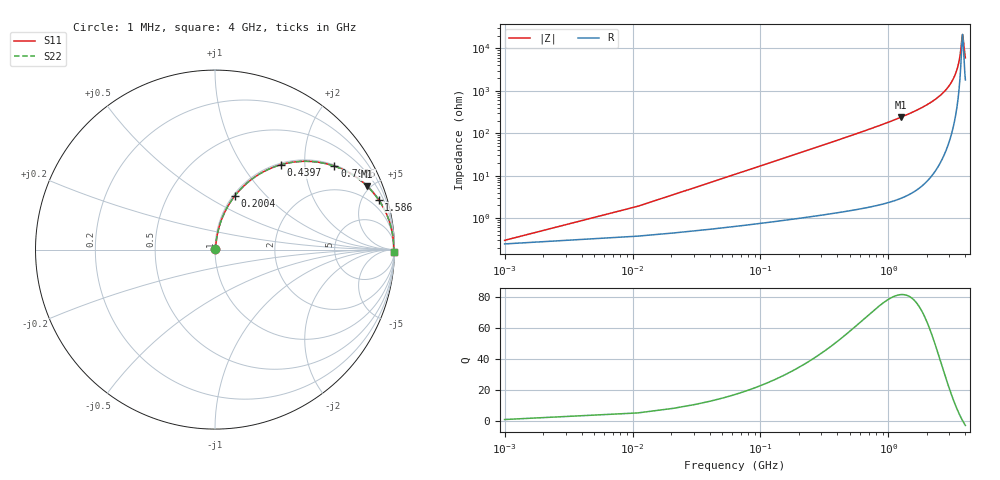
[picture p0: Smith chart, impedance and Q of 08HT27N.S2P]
! Coilcraft 0805HT-27N Chip Inductor
! 24 June 2002
# MHZ S MA R 50
!Freq  MagS11  AngS11  MagS21  AngS21  MagS12  AngS12  MagS22  AngS22
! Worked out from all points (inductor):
!   403 points, 1 MHz to 4 GHz, reference 50 ohm
!   read as one part in series: L = 27 nH near 20.94 MHz
!   highest Q = 81.7 at 1.257 GHz (marker M1), where L = 30.3 nH
!   self-resonance near 3.8 GHz
!   S11 on the Smith chart (normalised r, x): 1 MHz: 1.00, +0.00; 200.4 MHz: 1.02, +0.68; 439.7 MHz: 1.03, +1.51; 798.6 MHz: 1.04, +2.83; 1.586 GHz: 1.08, +6.52; 4 GHz: open
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1  0.00298 34.5  0.9975 -0.1  0.9975 -0.1  0.00298 34.5
30.91  0.05235 81.6  0.9937 -3.0  0.9937 -3.0  0.05235 81.6
50.85  0.08566 81.2  0.9905 -4.9  0.9905 -4.9  0.08566 81.2
110.67  0.1835 77.1  0.9755 -10.6  0.9755 -10.6  0.1835 77.1
200.4  0.32 69.7  0.9382 -18.7  0.9382 -18.7  0.32 69.7
300.1  0.4519 61.8  0.8818 -26.9  0.8818 -26.9  0.4519 61.8
439.68  0.5978 52.2  0.7906 -36.7  0.7906 -36.7  0.5978 52.2
668.99  0.755 40.1  0.6446 -49.0  0.6446 -49.0  0.755 40.1
798.6  0.8119 34.9  0.5727 -54.3  0.5727 -54.3  0.8119 34.9
1257.22  0.9188 22.6  0.3836 -66.7  0.3836 -66.7  0.9188 22.6
1336.98  0.929 21.0  0.3589 -68.3  0.3589 -68.3  0.929 21.0
1586.23  0.9526 17.0  0.2923 -72.3  0.2923 -72.3  0.9526 17.0
2004.97  0.9751 11.9  0.2069 -77.2  0.2069 -77.2  0.9751 11.9
2672.96  0.9906 6.3  0.1104 -82.0  0.1104 -82.0  0.9906 6.3
3061.79  0.9941 3.8  0.06722 -83.1  0.06722 -83.1  0.9941 3.8
3340.95  0.9952 2.3  0.04005 -82.0  0.04005 -82.0  0.9952 2.3
3590.2  0.9955 1.0  0.01808 -75.2  0.01808 -75.2  0.9955 1.0
3669.96  0.9955 0.6  0.01165 -66.9  0.01165 -66.9  0.9955 0.6
3789.6  0.9954 0.0  0.004721 -10.5  0.004721 -10.5  0.9954 0.0
3829.48  0.9953 -0.1  0.00527 26.5  0.00527 26.5  0.9953 -0.1
3919.21  0.9951 -0.5  0.01068 62.4  0.01068 62.4  0.9951 -0.5
4000  0.9949 -0.9  0.01658 71.5  0.01658 71.5  0.9949 -0.9
